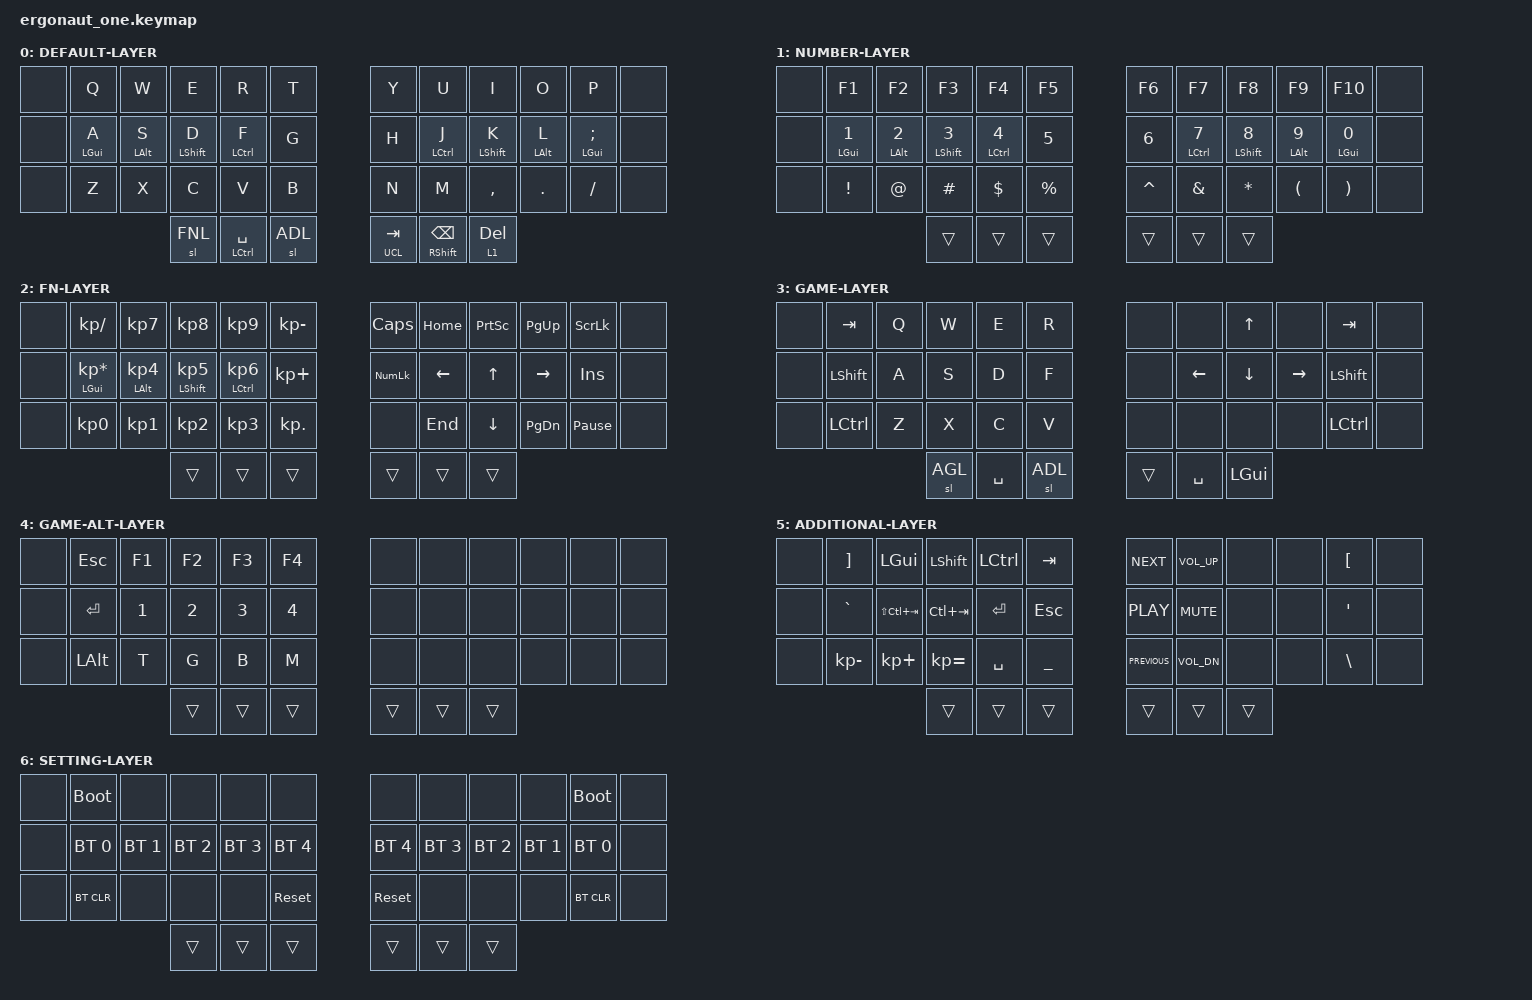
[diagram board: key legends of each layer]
#include <behaviors.dtsi>
#include <dt-bindings/zmk/keys.h>
#include <dt-bindings/zmk/bt.h>

#define DEF 0
#define LWR 1
#define FNL 2
#define GML 3
#define AGL 4
#define ADL 5
#define STL 6

&lt {
    quick-tap-ms = <200>;
};

&mt {
    quick-tap-ms = <200>;
};

/ {
    conditional_layers {
        compatible = "zmk,conditional-layers";

        system-alt-layer {
            if-layers = <3 6>;
            then-layer = <7>;
        };

        system-layer {
            if-layers = <1 2>;
            then-layer = <7>;
        };
    };

    combos {
        compatible = "zmk,combos";

        ToMain {
            bindings = <&to DEF>;
            key-positions = <1 2 3 4>;
        };

        // dont work
        SystemLayoutAlt {
            bindings = <&to STL>;
            key-positions = <7 8 9 10>;
        };

        // dont work
        ToGameMode {
            bindings = <&to GML>;
            key-positions = <13 14 15 16>;
        };

        SystemLayout {
            bindings = <&to STL>;
            key-positions = <15 16 19 20>;
        };
    };

    behaviors {
        hr: homerow_mods {
            compatible = "zmk,behavior-hold-tap";
            label = "HOMEROW_MODS";
            #binding-cells = <2>;
            flavor = "tap-preferred";
            tapping-term-ms = <300>;
            quick-tap-ms = <200>;
            bindings = <&kp>, <&kp>;
        };

        bmt: balanced_mod_tap {
            compatible = "zmk,behavior-hold-tap";
            label = "BALANCED_MOD_TABS";
            #binding-cells = <2>;
            flavor = "balanced";
            tapping-term-ms = <150>;
            quick-tap-ms = <300>;
            bindings = <&kp>, <&kp>;
        };

        /**
         *  Alt for game mode.
         */
        alt_gm: tap_dance_mod_tap {
            compatible = "zmk,behavior-tap-dance";
            #binding-cells = <0>;
            tapping-term-ms = <200>;
            bindings = <&kp LALT>, <&kp LCTRL>;
        };
    };

    keymap {
        compatible = "zmk,keymap";

        DEFAULT-LAYER {
            bindings = <
                &none     &kp Q       &kp W       &kp E         &kp R             &kp T           &kp Y        &kp U                 &kp I         &kp O       &kp P               &none
                &none     &hr LGUI A  &hr LALT S  &hr LSHIFT D  &hr LCTRL F       &kp G           &kp H        &hr LCTRL J           &hr LSHIFT K  &hr LALT L  &hr LGUI SEMICOLON  &none
                &none     &kp Z       &kp X       &kp C         &kp V             &kp B           &kp N        &kp M                 &kp COMMA     &kp DOT     &kp FSLH            &none
                                                  &sl FNL       &bmt LCTRL SPACE  &sl ADL        &lt UCL TAB  &bmt RSHFT BACKSPACE  &lt 1 DEL
            >;
        };

        NUMBER-LAYER {
            bindings = <
                &none     &kp F1             &kp F2             &kp F3               &kp F4              &kp F5        &kp F6        &kp F7              &kp F8               &kp F9             &kp F10            &none
                &none     &hr LGUI NUMBER_1  &hr LALT NUMBER_2  &hr LSHIFT NUMBER_3  &hr LCTRL NUMBER_4  &kp NUMBER_5  &kp NUMBER_6  &hr LCTRL NUMBER_7  &hr LSHIFT NUMBER_8  &hr LALT NUMBER_9  &hr LGUI NUMBER_0  &none
                &none     &kp EXCL           &kp AT             &kp HASH             &kp DLLR            &kp PRCNT     &kp CARET     &kp AMPS            &kp STAR             &kp LPAR           &kp RPAR           &none
                                                                &trans               &trans              &trans        &trans        &trans              &trans
            >;
        };

        FN-LAYER {
            bindings = <
                &none      &kp KP_SLASH            &kp KP_N7         &kp KP_N8         &kp KP_N9           &kp KP_MINUS     &kp CLCK         &kp HOME    &kp PSCRN  &kp PG_UP  &kp SLCK         &none
                &none      &hr LGUI KP_MULTIPLY    &hr LALT KP_N4    &hr LSHIFT KP_N5  &hr LCTRL KP_N6     &kp KP_PLUS      &kp KP_NUM       &kp LEFT    &kp UP     &kp RIGHT  &kp INS          &none
                &none      &kp KP_N0               &kp KP_N1         &kp KP_N2         &kp KP_N3           &kp KP_DOT       &none            &kp END     &kp DOWN   &kp PG_DN  &kp PAUSE_BREAK  &none
                                                                     &trans            &trans              &trans           &trans           &trans      &trans
            >;
        };

        GAME-LAYER {
            bindings = <
                &none     &kp TAB       &kp Q       &kp W         &kp E          &kp R          &none        &none         &kp UP        &none       &kp TAB        &none
                &none     &kp LSHIFT    &kp A       &kp S         &kp D          &kp F          &none        &kp LEFT      &kp DOWN      &kp RIGHT   &kp LSHIFT     &none
                &none     &kp LCTRL     &kp Z       &kp X         &kp C          &kp V          &none        &none         &none         &none       &kp LCTRL      &none
                                                    &sl AGL       &kp SPACE      &sl ADL        &trans       &kp SPACE     &kp LGUI
            >;
        };

        GAME-ALT-LAYER {
            bindings = <
                &none     &kp ESCAPE         &kp F1             &kp F2               &kp F3              &kp F4          &none         &none          &none            &none       &none        &none
                &none     &kp ENTER          &kp NUMBER_1       &kp NUMBER_2         &kp NUMBER_3        &kp NUMBER_4    &none         &none          &none            &none       &none        &none
                &none     &kp LALT           &kp T              &kp G                &kp B               &kp M           &none         &none          &none            &none       &none        &none
                                                                &trans               &trans              &trans          &trans        &trans         &trans
            >;
        };

        ADDITIONAL-LAYER {
            bindings = <
                &none    &kp RBKT          &kp LGUI            &kp LSHIFT           &kp LCTRL           &kp TAB          &kp C_NEXT        &kp C_VOL_UP     &none             &none           &kp LBKT           &none
                &none    &kp GRAVE         &kp LS(LC(TAB))     &kp LC(TAB)          &kp ENTER           &kp ESCAPE       &kp C_PLAY        &kp C_MUTE       &none             &none           &kp SQT            &none
                &none    &kp KP_MINUS      &kp KP_PLUS         &kp KP_EQUAL         &kp SPACE           &kp UNDERSCORE   &kp C_PREVIOUS    &kp C_VOL_DN     &none             &none           &kp BSLH           &none
                                                               &trans               &trans              &trans           &trans            &trans           &trans
            >;
        };

        SETTING-LAYER {
            bindings = <
                &none   &bootloader        &none         &none         &none         &none         &none         &none         &none         &none         &bootloader   &none
                &none   &bt BT_SEL 0       &bt BT_SEL 1  &bt BT_SEL 2  &bt BT_SEL 3  &bt BT_SEL 4  &bt BT_SEL 4  &bt BT_SEL 3  &bt BT_SEL 2  &bt BT_SEL 1  &bt BT_SEL 0  &none
                &none   &bt BT_CLR         &none         &none         &none         &sys_reset    &sys_reset    &none         &none         &none         &bt BT_CLR    &none
                                                         &trans        &trans        &trans        &trans        &trans        &trans
            >;
        };
    };
};
